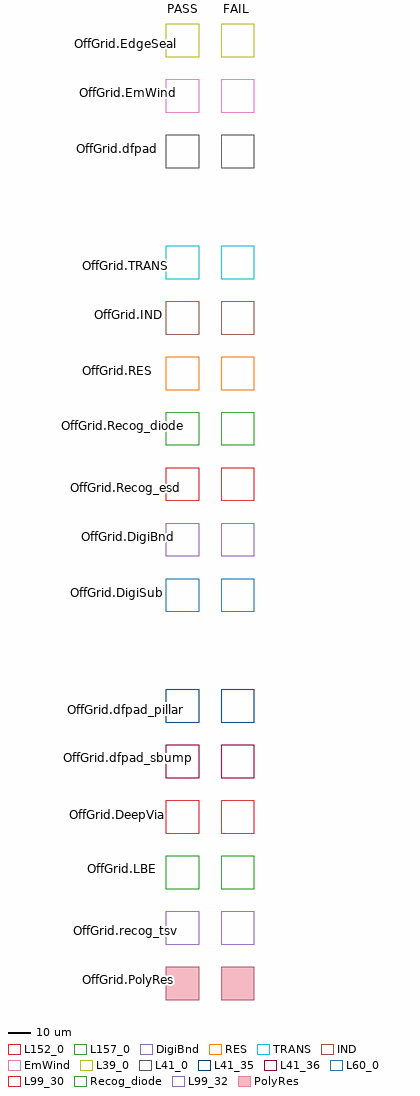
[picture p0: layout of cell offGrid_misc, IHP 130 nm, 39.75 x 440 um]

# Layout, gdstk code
import gdstk
lib = gdstk.Library(unit=1e-6, precision=1e-09)
def R(c, l, rs):  # rectangles x0, y0, x1, y1
    for r in rs: c.add(gdstk.rectangle(r[:2], r[2:], *l))
DigiBnd = (16, 0)
RES = (24, 0)
TRANS = (26, 0)
IND = (27, 0)
EmWind = (33, 0)
L39_0 = (39, 0)
L41_0 = (41, 0)
L41_35 = (41, 35)
L41_36 = (41, 36)
L60_0 = (60, 0)
L99_30 = (99, 30)
Recog_diode = (99, 31)
L99_32 = (99, 32)
PolyRes = (128, 0)
L152_0 = (152, 0)
L157_0 = (157, 0)

offgrid_misc = lib.new_cell('offGrid_misc')
R(offgrid_misc, DigiBnd, [(-20,-245,-5,-230), (5,-245,19.753,-230)])
R(offgrid_misc, RES, [(-20,-170,-5,-155), (5,-170,19.753,-155)])
R(offgrid_misc, TRANS, [(-20,-120,-5,-105), (5,-120,19.753,-105)])
R(offgrid_misc, IND, [(-20,-145,-5,-130), (5,-145,19.753,-130)])
R(offgrid_misc, EmWind, [(-20,-45,-5,-30), (5,-45,19.753,-30)])
R(offgrid_misc, L39_0, [(-20,-20,-5,-5), (5,-20,19.753,-5)])
R(offgrid_misc, L41_0, [(-20,-70,-5,-55), (5,-70,19.753,-55)])
R(offgrid_misc, L41_35, [(-20,-320,-5,-305), (5,-320,19.753,-305)])
R(offgrid_misc, L41_36, [(-20,-345,-5,-330), (5,-345,19.753,-330)])
R(offgrid_misc, L60_0, [(-20,-270,-5,-255), (5,-270,19.753,-255)])
R(offgrid_misc, L99_30, [(-20,-220,-5,-205), (5,-220,19.753,-205)])
R(offgrid_misc, Recog_diode, [(-20,-195,-5,-180), (5,-195,19.753,-180)])
R(offgrid_misc, L99_32, [(-20,-420,-5,-405), (5,-420,19.753,-405)])
R(offgrid_misc, PolyRes, [(-20,-445,-5,-430), (5,-445,19.753,-430)])
R(offgrid_misc, L152_0, [(-20,-370,-5,-355), (5,-370,19.753,-355)])
R(offgrid_misc, L157_0, [(-20,-395,-5,-380), (5,-395,19.753,-380)])
offgrid_misc.add(gdstk.Label('OffGrid.EdgeSeal', (-38.09,-13.84), layer=63, texttype=0))
offgrid_misc.add(gdstk.Label('OffGrid.EmWind', (-36.96,-35.82), layer=63, texttype=0))
offgrid_misc.add(gdstk.Label('OffGrid.dfpad', (-41.88,-61.22), layer=63, texttype=0))
offgrid_misc.add(gdstk.Label('OffGrid.TRANS', (-38.09,-113.84), layer=63, texttype=0))
offgrid_misc.add(gdstk.Label('OffGrid.IND', (-36.96,-135.82), layer=63, texttype=0))
offgrid_misc.add(gdstk.Label('OffGrid.RES', (-41.88,-161.22), layer=63, texttype=0))
offgrid_misc.add(gdstk.Label('OffGrid.Recog_diode', (-39.43,-185.86), layer=63, texttype=0))
offgrid_misc.add(gdstk.Label('OffGrid.Recog_esd', (-38.09,-213.84), layer=63, texttype=0))
offgrid_misc.add(gdstk.Label('OffGrid.DigiBnd', (-36.96,-235.82), layer=63, texttype=0))
offgrid_misc.add(gdstk.Label('OffGrid.DigiSub', (-41.88,-261.22), layer=63, texttype=0))
offgrid_misc.add(gdstk.Label('OffGrid.dfpad_pillar', (-38.09,-313.84), layer=63, texttype=0))
offgrid_misc.add(gdstk.Label('OffGrid.dfpad_sbump', (-36.96,-335.82), layer=63, texttype=0))
offgrid_misc.add(gdstk.Label('OffGrid.DeepVia', (-41.88,-361.22), layer=63, texttype=0))
offgrid_misc.add(gdstk.Label('OffGrid.LBE', (-39.43,-385.86), layer=63, texttype=0))
offgrid_misc.add(gdstk.Label('OffGrid.recog_tsv', (-38.09,-413.84), layer=63, texttype=0))
offgrid_misc.add(gdstk.Label('OffGrid.PolyRes', (-36.96,-435.82), layer=63, texttype=0))
offgrid_misc.add(gdstk.Label('OffGrid_FE', (-0.1,19.75), layer=63, texttype=0))
offgrid_misc.add(gdstk.Label('FAIL', (12,3.8), layer=63, texttype=0))
offgrid_misc.add(gdstk.Label('PASS', (-12,3.8), layer=63, texttype=0))

lib.write_gds('offGrid_misc.gds')
